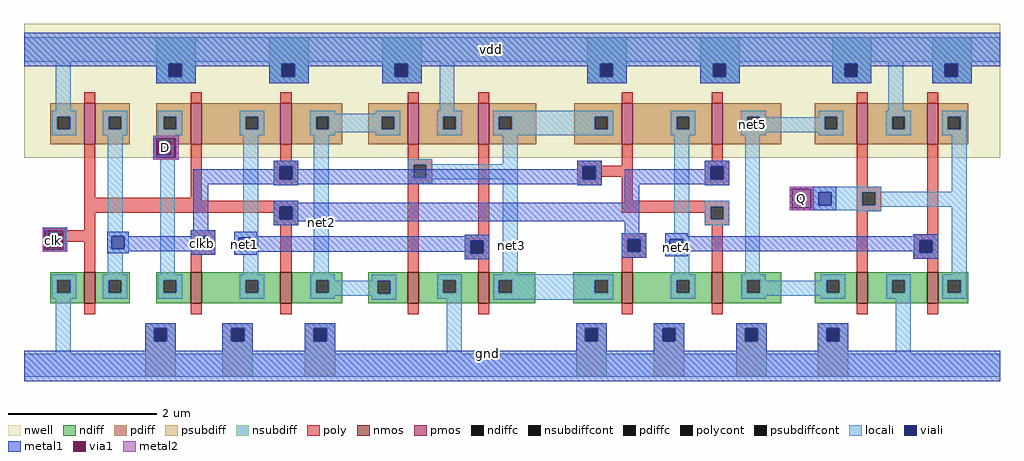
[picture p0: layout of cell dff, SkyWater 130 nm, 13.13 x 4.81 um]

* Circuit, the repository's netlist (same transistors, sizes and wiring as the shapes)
* NGSPICE file created from dff.ext - technology: sky130A

.subckt dff D Q clk vdd gnd
X0 net1 clkb D gnd sky130_fd_pr__nfet_01v8 ad=4.452e+11p pd=2.96e+06u as=1.932e+11p ps=1.76e+06u w=420000u l=150000u
X1 net2 clk net1 gnd sky130_fd_pr__nfet_01v8 ad=5.082e+11p pd=4.1e+06u as=0p ps=0u w=420000u l=150000u
X2 net1 clk D vdd sky130_fd_pr__pfet_01v8 ad=5.83e+11p pd=3.22e+06u as=2.53e+11p ps=2.02e+06u w=550000u l=150000u
X3 gnd net3 net2 gnd sky130_fd_pr__nfet_01v8 ad=8.652e+11p pd=6.64e+06u as=0p ps=0u w=420000u l=150000u
X4 clkb clk gnd gnd sky130_fd_pr__nfet_01v8 ad=1.932e+11p pd=1.76e+06u as=0p ps=0u w=420000u l=150000u
X5 clkb clk vdd vdd sky130_fd_pr__pfet_01v8 ad=2.53e+11p pd=2.02e+06u as=1.133e+12p ps=7.42e+06u w=550000u l=150000u
X6 vdd net3 net2 vdd sky130_fd_pr__pfet_01v8 ad=0p pd=0u as=6.655e+11p ps=4.62e+06u w=550000u l=150000u
X7 vdd Q net5 vdd sky130_fd_pr__pfet_01v8 ad=0p pd=0u as=7.425e+11p ps=4.9e+06u w=550000u l=150000u
X8 net3 net1 gnd gnd sky130_fd_pr__nfet_01v8 ad=5.334e+11p pd=4.22e+06u as=0p ps=0u w=420000u l=150000u
X9 net3 net1 vdd vdd sky130_fd_pr__pfet_01v8 ad=6.985e+11p pd=4.74e+06u as=0p ps=0u w=550000u l=150000u
X10 net5 clk net4 vdd sky130_fd_pr__pfet_01v8 ad=0p pd=0u as=5.83e+11p ps=3.22e+06u w=550000u l=150000u
X11 Q net4 vdd vdd sky130_fd_pr__pfet_01v8 ad=2.2e+11p pd=1.9e+06u as=0p ps=0u w=550000u l=150000u
X12 net2 clkb net1 vdd sky130_fd_pr__pfet_01v8 ad=0p pd=0u as=0p ps=0u w=550000u l=150000u
X13 net5 clkb net4 gnd sky130_fd_pr__nfet_01v8 ad=5.67e+11p pd=4.38e+06u as=4.452e+11p ps=2.96e+06u w=420000u l=150000u
X14 net4 clkb net3 vdd sky130_fd_pr__pfet_01v8 ad=0p pd=0u as=0p ps=0u w=550000u l=150000u
X15 Q net4 gnd gnd sky130_fd_pr__nfet_01v8 ad=1.68e+11p pd=1.64e+06u as=0p ps=0u w=420000u l=150000u
X16 gnd Q net5 gnd sky130_fd_pr__nfet_01v8 ad=0p pd=0u as=0p ps=0u w=420000u l=150000u
X17 net4 clk net3 gnd sky130_fd_pr__nfet_01v8 ad=0p pd=0u as=0p ps=0u w=420000u l=150000u
.ends

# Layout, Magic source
magic
tech sky130A
<< nwell >>
rect 0 281 1313 461
<< nmos >>
rect 81 85 96 127
rect 224 85 239 127
rect 345 85 360 127
rect 516 85 531 127
rect 611 85 626 127
rect 804 85 819 127
rect 925 85 940 127
rect 1120 85 1135 127
rect 1215 85 1230 127
<< pmos >>
rect 81 299 96 354
rect 224 299 239 354
rect 345 299 360 354
rect 516 299 531 354
rect 611 299 626 354
rect 804 299 819 354
rect 925 299 940 354
rect 1120 299 1135 354
rect 1215 299 1230 354
<< ndiff >>
rect 35 116 81 127
rect 35 99 45 116
rect 62 99 81 116
rect 35 85 81 99
rect 96 116 142 127
rect 96 99 114 116
rect 131 99 142 116
rect 96 85 142 99
rect 178 116 224 127
rect 178 99 188 116
rect 205 99 224 116
rect 178 85 224 99
rect 239 116 345 127
rect 239 99 298 116
rect 315 99 345 116
rect 239 85 345 99
rect 360 116 428 127
rect 360 99 393 116
rect 410 99 428 116
rect 360 85 428 99
rect 463 115 516 127
rect 463 98 476 115
rect 493 98 516 115
rect 463 85 516 98
rect 531 116 611 127
rect 531 99 564 116
rect 581 99 611 116
rect 531 85 611 99
rect 626 116 688 127
rect 626 99 639 116
rect 656 99 688 116
rect 626 85 688 99
rect 739 116 804 127
rect 739 99 768 116
rect 785 99 804 116
rect 739 85 804 99
rect 819 116 925 127
rect 819 99 878 116
rect 895 99 925 116
rect 819 85 925 99
rect 940 116 1019 127
rect 940 99 973 116
rect 990 99 1019 116
rect 940 85 1019 99
rect 1064 116 1120 127
rect 1064 99 1080 116
rect 1097 99 1120 116
rect 1064 85 1120 99
rect 1135 116 1215 127
rect 1135 99 1168 116
rect 1185 99 1215 116
rect 1135 85 1215 99
rect 1230 116 1270 127
rect 1230 99 1243 116
rect 1260 99 1270 116
rect 1230 85 1270 99
<< pdiff >>
rect 35 336 81 354
rect 35 319 45 336
rect 62 319 81 336
rect 35 299 81 319
rect 96 336 142 354
rect 96 319 114 336
rect 131 319 142 336
rect 96 299 142 319
rect 178 336 224 354
rect 178 319 188 336
rect 205 319 224 336
rect 178 299 224 319
rect 239 336 345 354
rect 239 319 298 336
rect 315 319 345 336
rect 239 299 345 319
rect 360 336 428 354
rect 360 319 393 336
rect 410 319 428 336
rect 360 299 428 319
rect 463 336 516 354
rect 463 319 481 336
rect 498 319 516 336
rect 463 299 516 319
rect 531 336 611 354
rect 531 319 564 336
rect 581 319 611 336
rect 531 299 611 319
rect 626 336 689 354
rect 626 319 639 336
rect 656 319 689 336
rect 626 299 689 319
rect 740 336 804 354
rect 740 319 768 336
rect 785 319 804 336
rect 740 299 804 319
rect 819 336 925 354
rect 819 319 878 336
rect 895 319 925 336
rect 819 299 925 319
rect 940 336 1019 354
rect 940 319 973 336
rect 990 319 1019 336
rect 940 299 1019 319
rect 1064 336 1120 354
rect 1064 319 1077 336
rect 1094 319 1120 336
rect 1064 299 1120 319
rect 1135 336 1215 354
rect 1135 319 1168 336
rect 1185 319 1215 336
rect 1135 299 1215 319
rect 1230 336 1270 354
rect 1230 319 1243 336
rect 1260 319 1270 336
rect 1230 299 1270 319
<< ndiffc >>
rect 45 99 62 116
rect 114 99 131 116
rect 188 99 205 116
rect 298 99 315 116
rect 393 99 410 116
rect 476 98 493 115
rect 564 99 581 116
rect 639 99 656 116
rect 768 99 785 116
rect 878 99 895 116
rect 973 99 990 116
rect 1080 99 1097 116
rect 1168 99 1185 116
rect 1243 99 1260 116
<< pdiffc >>
rect 45 319 62 336
rect 114 319 131 336
rect 188 319 205 336
rect 298 319 315 336
rect 393 319 410 336
rect 481 319 498 336
rect 564 319 581 336
rect 639 319 656 336
rect 768 319 785 336
rect 878 319 895 336
rect 973 319 990 336
rect 1077 319 1094 336
rect 1168 319 1185 336
rect 1243 319 1260 336
<< psubdiff >>
rect 163 51 204 58
rect 163 34 175 51
rect 192 34 204 51
rect 163 -14 204 34
rect 267 51 308 58
rect 267 34 279 51
rect 296 34 308 51
rect 267 -14 308 34
rect 378 51 419 58
rect 378 34 390 51
rect 407 34 419 51
rect 378 -14 419 34
rect 743 51 784 58
rect 743 34 755 51
rect 772 34 784 51
rect 743 -14 784 34
rect 847 51 888 58
rect 847 34 859 51
rect 876 34 888 51
rect 847 -14 888 34
rect 958 51 999 58
rect 958 34 970 51
rect 987 34 999 51
rect 958 -14 999 34
rect 1068 51 1109 58
rect 1068 34 1080 51
rect 1097 34 1109 51
rect 1068 -14 1109 34
<< nsubdiff >>
rect 178 407 231 443
rect 178 390 195 407
rect 212 390 231 407
rect 178 381 231 390
rect 330 407 383 443
rect 330 390 347 407
rect 364 390 383 407
rect 330 381 383 390
rect 482 407 535 443
rect 482 390 499 407
rect 516 390 535 407
rect 482 381 535 390
rect 758 407 811 443
rect 758 390 775 407
rect 792 390 811 407
rect 758 381 811 390
rect 910 407 963 443
rect 910 390 927 407
rect 944 390 963 407
rect 910 381 963 390
rect 1087 407 1140 443
rect 1087 390 1104 407
rect 1121 390 1140 407
rect 1087 381 1140 390
rect 1222 407 1275 443
rect 1222 390 1239 407
rect 1256 390 1275 407
rect 1222 381 1275 390
<< psubdiffcont >>
rect 175 34 192 51
rect 279 34 296 51
rect 390 34 407 51
rect 755 34 772 51
rect 859 34 876 51
rect 970 34 987 51
rect 1080 34 1097 51
<< nsubdiffcont >>
rect 195 390 212 407
rect 347 390 364 407
rect 499 390 516 407
rect 775 390 792 407
rect 927 390 944 407
rect 1104 390 1121 407
rect 1239 390 1256 407
<< poly >>
rect 81 354 96 369
rect 224 354 239 369
rect 345 354 360 369
rect 516 354 531 369
rect 611 354 626 369
rect 804 354 819 369
rect 925 354 940 369
rect 1120 354 1135 369
rect 1215 354 1230 369
rect 81 227 96 299
rect 224 227 239 299
rect 345 277 360 299
rect 516 279 531 299
rect 336 269 369 277
rect 336 252 344 269
rect 361 252 369 269
rect 336 244 369 252
rect 516 271 549 279
rect 516 254 524 271
rect 541 254 549 271
rect 516 246 549 254
rect 81 223 239 227
rect 81 215 369 223
rect 81 207 344 215
rect 25 183 58 187
rect 81 183 96 207
rect 336 198 344 207
rect 361 198 369 215
rect 336 190 369 198
rect 25 179 96 183
rect 25 162 33 179
rect 50 168 96 179
rect 50 162 58 168
rect 25 154 58 162
rect 81 127 96 168
rect 224 175 257 183
rect 224 158 232 175
rect 249 158 257 175
rect 224 150 257 158
rect 224 127 239 150
rect 345 127 360 190
rect 516 127 531 246
rect 611 177 626 299
rect 744 270 777 277
rect 804 270 819 299
rect 925 277 940 299
rect 744 269 819 270
rect 744 252 752 269
rect 769 255 819 269
rect 769 252 777 255
rect 744 244 777 252
rect 804 223 819 255
rect 916 269 949 277
rect 916 252 924 269
rect 941 252 949 269
rect 916 244 949 252
rect 1120 242 1135 299
rect 1120 234 1153 242
rect 804 215 949 223
rect 804 207 924 215
rect 916 198 924 207
rect 941 198 949 215
rect 916 190 949 198
rect 1120 217 1128 234
rect 1145 217 1153 234
rect 1120 209 1153 217
rect 593 169 626 177
rect 593 152 601 169
rect 618 152 626 169
rect 593 144 626 152
rect 611 127 626 144
rect 804 171 837 179
rect 804 154 812 171
rect 829 154 837 171
rect 804 146 837 154
rect 804 127 819 146
rect 925 127 940 190
rect 1120 127 1135 209
rect 1215 178 1230 299
rect 1197 170 1230 178
rect 1197 153 1205 170
rect 1222 153 1230 170
rect 1197 145 1230 153
rect 1215 127 1230 145
rect 81 70 96 85
rect 224 70 239 85
rect 345 70 360 85
rect 516 70 531 85
rect 611 70 626 85
rect 804 70 819 85
rect 925 70 940 85
rect 1120 70 1135 85
rect 1215 70 1230 85
<< polycont >>
rect 344 252 361 269
rect 524 254 541 271
rect 344 198 361 215
rect 33 162 50 179
rect 232 158 249 175
rect 752 252 769 269
rect 924 252 941 269
rect 924 198 941 215
rect 1128 217 1145 234
rect 601 152 618 169
rect 812 154 829 171
rect 1205 153 1222 170
<< locali >>
rect 0 410 1313 443
rect 43 344 63 410
rect 178 407 231 410
rect 178 390 195 407
rect 212 390 231 407
rect 178 381 231 390
rect 330 407 383 410
rect 330 390 347 407
rect 364 390 383 407
rect 330 381 383 390
rect 482 407 535 410
rect 482 390 499 407
rect 516 390 535 407
rect 482 381 535 390
rect 559 344 579 410
rect 758 407 811 410
rect 758 390 775 407
rect 792 390 811 407
rect 758 381 811 390
rect 910 407 963 410
rect 910 390 927 407
rect 944 390 963 407
rect 910 381 963 390
rect 1087 407 1140 410
rect 1087 390 1104 407
rect 1121 390 1140 407
rect 1087 381 1140 390
rect 1163 344 1183 410
rect 1222 407 1275 410
rect 1222 390 1239 407
rect 1256 390 1275 407
rect 1222 381 1275 390
rect 37 336 70 344
rect 37 319 45 336
rect 62 319 70 336
rect 37 311 70 319
rect 106 336 139 344
rect 106 319 114 336
rect 131 319 139 336
rect 106 311 139 319
rect 180 336 213 344
rect 180 319 188 336
rect 205 319 213 336
rect 180 311 213 319
rect 290 336 323 344
rect 290 319 298 336
rect 315 319 323 336
rect 290 311 323 319
rect 385 340 418 344
rect 473 340 506 344
rect 385 336 506 340
rect 385 319 393 336
rect 410 319 481 336
rect 498 319 506 336
rect 385 315 506 319
rect 385 311 418 315
rect 473 311 506 315
rect 556 336 589 344
rect 556 319 564 336
rect 581 319 589 336
rect 556 311 589 319
rect 631 336 793 344
rect 631 319 639 336
rect 656 319 768 336
rect 785 319 793 336
rect 631 311 793 319
rect 870 336 903 344
rect 870 319 878 336
rect 895 319 903 336
rect 870 311 903 319
rect 965 336 998 344
rect 965 319 973 336
rect 990 335 998 336
rect 1069 336 1102 344
rect 1069 335 1077 336
rect 990 319 1077 335
rect 1094 319 1102 336
rect 965 315 1102 319
rect 965 311 998 315
rect 1069 311 1102 315
rect 1160 336 1193 344
rect 1160 319 1168 336
rect 1185 319 1193 336
rect 1160 311 1193 319
rect 1235 336 1268 344
rect 1235 319 1243 336
rect 1260 319 1268 336
rect 1235 311 1268 319
rect 25 179 58 187
rect 113 181 133 311
rect 180 308 203 311
rect 175 302 203 308
rect 175 285 180 302
rect 197 285 203 302
rect 175 280 203 285
rect 25 161 33 179
rect 50 161 58 179
rect 25 154 58 161
rect 112 175 141 181
rect 112 158 118 175
rect 135 158 141 175
rect 112 152 141 158
rect 113 124 133 152
rect 183 124 203 280
rect 224 175 257 183
rect 295 181 315 311
rect 336 269 369 277
rect 336 252 344 269
rect 361 252 369 269
rect 336 244 369 252
rect 336 215 369 223
rect 336 198 344 215
rect 361 198 369 215
rect 336 190 369 198
rect 224 158 232 175
rect 249 158 257 175
rect 224 150 257 158
rect 283 173 315 181
rect 283 156 289 173
rect 306 156 315 173
rect 283 150 315 156
rect 295 124 315 150
rect 390 124 410 311
rect 516 272 549 279
rect 644 272 664 311
rect 516 271 664 272
rect 516 254 524 271
rect 541 254 664 271
rect 516 252 664 254
rect 516 246 549 252
rect 593 169 626 177
rect 593 152 601 169
rect 618 152 626 169
rect 593 144 626 152
rect 644 124 664 252
rect 744 269 777 277
rect 744 252 752 269
rect 769 252 777 269
rect 744 244 777 252
rect 875 179 895 311
rect 916 269 949 277
rect 916 252 924 269
rect 941 252 949 269
rect 916 244 949 252
rect 916 215 949 223
rect 916 198 924 215
rect 941 198 949 215
rect 916 190 949 198
rect 804 171 837 179
rect 804 154 812 171
rect 829 154 837 171
rect 804 146 837 154
rect 863 171 895 179
rect 863 154 869 171
rect 886 154 895 171
rect 863 148 895 154
rect 875 124 895 148
rect 970 124 990 311
rect 1062 235 1153 242
rect 1248 235 1268 311
rect 1062 234 1268 235
rect 1062 217 1069 234
rect 1086 217 1128 234
rect 1145 217 1268 234
rect 1062 215 1268 217
rect 1062 210 1153 215
rect 1120 209 1153 210
rect 1197 170 1230 178
rect 1197 153 1205 170
rect 1222 153 1230 170
rect 1197 145 1230 153
rect 1248 124 1268 215
rect 37 116 70 124
rect 37 99 45 116
rect 62 99 70 116
rect 37 91 70 99
rect 106 116 139 124
rect 106 99 114 116
rect 131 99 139 116
rect 106 91 139 99
rect 180 116 213 124
rect 180 99 188 116
rect 205 99 213 116
rect 180 91 213 99
rect 290 116 323 124
rect 290 99 298 116
rect 315 99 323 116
rect 290 91 323 99
rect 385 116 418 124
rect 385 99 393 116
rect 410 115 418 116
rect 468 115 501 123
rect 410 99 476 115
rect 385 98 476 99
rect 493 98 501 115
rect 385 95 501 98
rect 385 91 418 95
rect 43 17 63 91
rect 468 90 501 95
rect 556 116 589 124
rect 556 99 564 116
rect 581 99 589 116
rect 556 91 589 99
rect 163 51 204 58
rect 163 34 175 51
rect 192 34 204 51
rect 163 17 204 34
rect 267 51 308 58
rect 267 34 279 51
rect 296 34 308 51
rect 267 17 308 34
rect 378 51 419 58
rect 378 34 390 51
rect 407 34 419 51
rect 378 17 419 34
rect 569 17 589 91
rect 631 116 793 124
rect 631 99 639 116
rect 656 99 768 116
rect 785 99 793 116
rect 631 90 793 99
rect 870 116 903 124
rect 870 99 878 116
rect 895 99 903 116
rect 870 91 903 99
rect 965 116 998 124
rect 965 99 973 116
rect 990 115 998 116
rect 1072 116 1105 124
rect 1072 115 1080 116
rect 990 99 1080 115
rect 1097 99 1105 116
rect 965 95 1105 99
rect 965 91 998 95
rect 1072 91 1105 95
rect 1160 116 1193 124
rect 1160 99 1168 116
rect 1185 99 1193 116
rect 1160 91 1193 99
rect 1235 116 1268 124
rect 1235 99 1243 116
rect 1260 99 1268 116
rect 1235 91 1268 99
rect 743 51 784 58
rect 743 34 755 51
rect 772 34 784 51
rect 743 17 784 34
rect 847 51 888 58
rect 847 34 859 51
rect 876 34 888 51
rect 847 17 888 34
rect 958 51 999 58
rect 958 34 970 51
rect 987 34 999 51
rect 958 17 999 34
rect 1068 51 1109 58
rect 1068 34 1080 51
rect 1097 34 1109 51
rect 1068 17 1109 34
rect 1173 17 1193 91
rect 0 -14 1313 17
<< viali >>
rect 195 390 212 407
rect 347 390 364 407
rect 499 390 516 407
rect 775 390 792 407
rect 927 390 944 407
rect 1104 390 1121 407
rect 1239 390 1256 407
rect 180 285 197 302
rect 33 162 50 178
rect 33 161 50 162
rect 118 158 135 175
rect 344 252 361 269
rect 344 198 361 215
rect 232 158 249 175
rect 289 156 306 173
rect 601 152 618 169
rect 752 252 769 269
rect 924 252 941 269
rect 812 154 829 171
rect 869 154 886 171
rect 1069 217 1086 234
rect 1205 153 1222 170
rect 175 34 192 51
rect 279 34 296 51
rect 390 34 407 51
rect 755 34 772 51
rect 859 34 876 51
rect 970 34 987 51
rect 1080 34 1097 51
<< metal1 >>
rect 0 407 1313 449
rect 0 404 195 407
rect 178 390 195 404
rect 212 404 347 407
rect 212 390 231 404
rect 178 381 231 390
rect 330 390 347 404
rect 364 404 499 407
rect 364 390 383 404
rect 330 381 383 390
rect 482 390 499 404
rect 516 404 775 407
rect 516 390 535 404
rect 482 381 535 390
rect 758 390 775 404
rect 792 404 927 407
rect 792 390 811 404
rect 758 381 811 390
rect 910 390 927 404
rect 944 404 1104 407
rect 944 390 963 404
rect 910 381 963 390
rect 1087 390 1104 404
rect 1121 404 1239 407
rect 1121 390 1140 404
rect 1087 381 1140 390
rect 1222 390 1239 404
rect 1256 404 1313 407
rect 1256 390 1275 404
rect 1222 381 1275 390
rect 174 307 208 310
rect 174 281 178 307
rect 204 281 208 307
rect 174 278 208 281
rect 336 269 369 277
rect 336 265 344 269
rect 228 252 344 265
rect 361 265 369 269
rect 744 269 777 277
rect 744 265 752 269
rect 361 252 752 265
rect 769 252 777 269
rect 916 269 949 277
rect 916 265 924 269
rect 228 245 777 252
rect 25 183 56 186
rect 228 183 248 245
rect 336 244 369 245
rect 744 244 777 245
rect 808 252 924 265
rect 941 252 949 269
rect 808 245 949 252
rect 336 220 369 223
rect 808 220 828 245
rect 916 244 949 245
rect 336 215 828 220
rect 336 198 344 215
rect 361 198 828 215
rect 1030 239 1093 242
rect 1030 213 1033 239
rect 1059 234 1093 239
rect 1059 217 1069 234
rect 1086 217 1093 234
rect 1059 213 1093 217
rect 1030 210 1093 213
rect 336 195 828 198
rect 336 190 369 195
rect 25 157 27 183
rect 53 157 56 183
rect 25 154 56 157
rect 112 175 141 181
rect 224 175 257 183
rect 112 158 118 175
rect 135 158 232 175
rect 249 158 257 175
rect 112 155 257 158
rect 112 152 141 155
rect 224 150 257 155
rect 283 175 313 181
rect 808 179 828 195
rect 593 175 626 177
rect 283 173 626 175
rect 283 156 289 173
rect 306 169 626 173
rect 306 156 601 169
rect 283 154 601 156
rect 283 150 313 154
rect 593 152 601 154
rect 618 152 626 169
rect 593 144 626 152
rect 804 171 837 179
rect 804 154 812 171
rect 829 154 837 171
rect 804 146 837 154
rect 863 175 893 179
rect 1196 175 1230 178
rect 863 171 1230 175
rect 863 154 869 171
rect 886 170 1230 171
rect 886 155 1205 170
rect 886 154 893 155
rect 863 148 893 154
rect 1196 153 1205 155
rect 1222 153 1230 170
rect 1196 145 1230 153
rect 163 51 204 58
rect 163 34 175 51
rect 192 34 204 51
rect 163 21 204 34
rect 267 51 308 58
rect 267 34 279 51
rect 296 34 308 51
rect 267 21 308 34
rect 378 51 419 58
rect 378 34 390 51
rect 407 34 419 51
rect 378 21 419 34
rect 743 51 784 58
rect 743 34 755 51
rect 772 34 784 51
rect 743 21 784 34
rect 847 51 888 58
rect 847 34 859 51
rect 876 34 888 51
rect 847 21 888 34
rect 958 51 999 58
rect 958 34 970 51
rect 987 34 999 51
rect 958 21 999 34
rect 1068 51 1109 58
rect 1068 34 1080 51
rect 1097 34 1109 51
rect 1068 21 1109 34
rect 0 -20 1313 21
<< via1 >>
rect 178 302 204 307
rect 178 285 180 302
rect 180 285 197 302
rect 197 285 204 302
rect 178 281 204 285
rect 1033 213 1059 239
rect 27 178 53 183
rect 27 161 33 178
rect 33 161 50 178
rect 50 161 53 178
rect 27 157 53 161
<< metal2 >>
rect 174 307 208 310
rect 174 281 178 307
rect 204 281 208 307
rect 174 278 208 281
rect 1030 239 1062 242
rect 1030 213 1033 239
rect 1059 213 1062 239
rect 1030 210 1062 213
rect 25 183 56 186
rect 25 157 27 183
rect 53 157 56 183
rect 25 154 56 157
<< labels >>
flabel locali s 975 320 985 332 0 FreeSans 200 0 0 0 net5
flabel metal2 s 1033 213 1059 239 0 FreeSans 400 0 0 0 Q
port 9 nsew
flabel metal2 s 178 281 204 307 0 FreeSans 400 0 0 0 D
port 2 nsew
flabel metal1 s 609 416 648 436 0 FreeSans 400 0 0 0 vdd
port 0 nsew
flabel locali s 396 190 404 198 0 FreeSans 200 0 0 0 net2
flabel locali s 652 158 660 166 0 FreeSans 200 0 0 0 net3
flabel locali s 234 159 245 172 0 FreeSans 240 0 0 0 clkb
flabel metal1 s 556 1 691 34 0 FreeSans 400 0 0 0 gnd
port 1 nsew
flabel locali s 292 160 300 167 0 FreeSans 200 0 0 0 net1
flabel locali s 874 157 882 164 0 FreeSans 200 0 0 0 net4
flabel metal2 s 27 157 53 183 0 FreeSans 240 0 0 0 clk
port 10 nsew
<< properties >>
string FIXED_BBOX 0 0 1313 426
<< end >>
